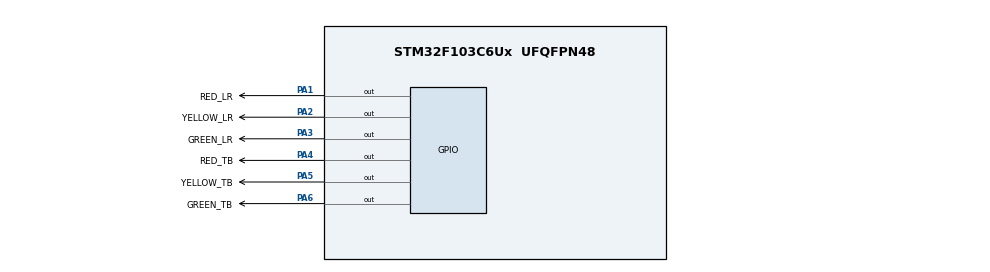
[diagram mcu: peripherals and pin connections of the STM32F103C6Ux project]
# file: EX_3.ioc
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Mcu.Family=STM32F1
Mcu.Name=STM32F103C6Ux
Mcu.Package=UFQFPN48
NVIC.PriorityGroup=NVIC_PRIORITYGROUP_4
PA1.GPIO_Label=RED_LR
PA1.Signal=GPIO_Output
PA2.GPIO_Label=YELLOW_LR
PA2.Signal=GPIO_Output
PA3.GPIO_Label=GREEN_LR
PA3.Signal=GPIO_Output
PA4.GPIO_Label=RED_TB
PA4.Signal=GPIO_Output
PA5.GPIO_Label=YELLOW_TB
PA5.Signal=GPIO_Output
PA6.GPIO_Label=GREEN_TB
PA6.Signal=GPIO_Output
ProjectManager.HeapSize=0x200
ProjectManager.StackSize=0x400
ProjectManager.TargetToolchain=STM32CubeIDE
RCC.APB1Freq_Value=8000000
RCC.APB2Freq_Value=8000000
VP_SYS_VS_ND.Mode=No_Debug
board=custom

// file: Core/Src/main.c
/* USER CODE BEGIN Header */
/**
  ******************************************************************************
  * @file           : main.c
  * @brief          : Main program body
  ******************************************************************************
  * @attention
  *
  * <h2><center>&copy; Copyright (c) 2022 STMicroelectronics.
  * All rights reserved.</center></h2>
  *
  * This software component is licensed by ST under BSD 3-Clause license,
  * the "License"; You may not use this file except in compliance with the
  * License. You may obtain a copy of the License at:
  *                        opensource.org/licenses/BSD-3-Clause
  *
  ******************************************************************************
  */
/* USER CODE END Header */
#include "main.h"

void SystemClock_Config(void);
static void MX_GPIO_Init(void);

int main(void)
{

  /* MCU Configuration--------------------------------------------------------*/

  /* Reset of all peripherals, Initializes the Flash interface and the Systick. */
  HAL_Init();

  /* Configure the system clock */
  SystemClock_Config();

  /* Initialize all configured peripherals */
  MX_GPIO_Init();

  /* Infinite loop */
  /* USER CODE BEGIN WHILE */
  void display7SEG(int num){
	  char led7seg[10] = {0xC0 , 0xF9 , 0xA4 , 0xB0 , 0x99 , 0x92 , 0x82 ,
			  0xF8 , 0x80 , 0x90 };
	  for (int i= 0; i<7; i++){
		  HAL_GPIO_WritePin (GPIOB , GPIO_PIN_0 << i, ( led7seg[num]
		  >> i) & 1);
	  }
  }
  while (1)
  {
	  	  //-----	XANH_LR / Đ_TB
	  	  	  HAL_GPIO_WritePin(RED_LR_GPIO_Port, RED_LR_Pin, SET);
	  	  	  HAL_GPIO_WritePin(YELLOW_LR_GPIO_Port, YELLOW_LR_Pin, SET);
	  	  	  HAL_GPIO_WritePin(GREEN_LR_GPIO_Port, GREEN_LR_Pin, RESET);

	  	  	  HAL_GPIO_WritePin(GREEN_TB_GPIO_Port, GREEN_TB_Pin, SET);
	  	  	  HAL_GPIO_WritePin(YELLOW_TB_GPIO_Port, YELLOW_TB_Pin, SET);
	  	  	  HAL_GPIO_WritePin(RED_TB_GPIO_Port, RED_TB_Pin, RESET);
	  	  	  HAL_Delay(3000);

	  	  	  //------ VANG_LR / Đ_TB
	  	  	  HAL_GPIO_WritePin(RED_LR_GPIO_Port, RED_LR_Pin, SET);
	  	  	  HAL_GPIO_WritePin(GREEN_LR_GPIO_Port, GREEN_LR_Pin, SET);
	  	  	  HAL_GPIO_WritePin(YELLOW_LR_GPIO_Port, YELLOW_LR_Pin, RESET);

	  	  	  HAL_GPIO_WritePin(GREEN_TB_GPIO_Port, GREEN_TB_Pin, SET);
	  	  	  HAL_GPIO_WritePin(YELLOW_TB_GPIO_Port, YELLOW_TB_Pin, SET);
	  	  	  HAL_GPIO_WritePin(RED_TB_GPIO_Port, RED_TB_Pin, RESET);
	  	  	  HAL_Delay(2000);

	  	  	  //--------ĐO_LR / XANH_TB
	  	  	HAL_GPIO_WritePin(GREEN_LR_GPIO_Port, GREEN_LR_Pin, SET);
	  	  	HAL_GPIO_WritePin(YELLOW_LR_GPIO_Port, YELLOW_LR_Pin, SET);
	  	  	HAL_GPIO_WritePin(RED_LR_GPIO_Port, RED_LR_Pin, RESET);

	  	    HAL_GPIO_WritePin(RED_TB_GPIO_Port, RED_TB_Pin, SET);
	  	  	HAL_GPIO_WritePin(YELLOW_TB_GPIO_Port, YELLOW_TB_Pin, SET);
	  	  	HAL_GPIO_WritePin(GREEN_TB_GPIO_Port, GREEN_TB_Pin, RESET);
	  	  	HAL_Delay(3000);

	  	  	//------Đ_LR / VANG_TB
	  	    HAL_GPIO_WritePin(GREEN_LR_GPIO_Port, GREEN_LR_Pin, SET);
	  	  	HAL_GPIO_WritePin(YELLOW_LR_GPIO_Port, YELLOW_LR_Pin, SET);
	  	  	HAL_GPIO_WritePin(RED_LR_GPIO_Port, RED_LR_Pin, RESET);

	  	    HAL_GPIO_WritePin(RED_TB_GPIO_Port, RED_TB_Pin, SET);
	  	  	HAL_GPIO_WritePin(GREEN_TB_GPIO_Port, GREEN_TB_Pin, SET);
	  	  	HAL_GPIO_WritePin(YELLOW_TB_GPIO_Port, YELLOW_TB_Pin, RESET);
	  	  	HAL_Delay(2000);
    /* USER CODE END WHILE */

  }
}

void SystemClock_Config(void)
{
  RCC_OscInitTypeDef RCC_OscInitStruct = {0};
  RCC_ClkInitTypeDef RCC_ClkInitStruct = {0};

  /** Initializes the RCC Oscillators according to the specified parameters
  * in the RCC_OscInitTypeDef structure.
  */
  RCC_OscInitStruct.OscillatorType = RCC_OSCILLATORTYPE_HSI;
  RCC_OscInitStruct.HSIState = RCC_HSI_ON;
  RCC_OscInitStruct.HSICalibrationValue = RCC_HSICALIBRATION_DEFAULT;
  RCC_OscInitStruct.PLL.PLLState = RCC_PLL_NONE;
  if (HAL_RCC_OscConfig(&RCC_OscInitStruct) != HAL_OK)
  {
    Error_Handler();
  }
  /** Initializes the CPU, AHB and APB buses clocks
  */
  RCC_ClkInitStruct.ClockType = RCC_CLOCKTYPE_HCLK|RCC_CLOCKTYPE_SYSCLK
                              |RCC_CLOCKTYPE_PCLK1|RCC_CLOCKTYPE_PCLK2;
  RCC_ClkInitStruct.SYSCLKSource = RCC_SYSCLKSOURCE_HSI;
  RCC_ClkInitStruct.AHBCLKDivider = RCC_SYSCLK_DIV1;
  RCC_ClkInitStruct.APB1CLKDivider = RCC_HCLK_DIV1;
  RCC_ClkInitStruct.APB2CLKDivider = RCC_HCLK_DIV1;

  if (HAL_RCC_ClockConfig(&RCC_ClkInitStruct, FLASH_LATENCY_0) != HAL_OK)
  {
    Error_Handler();
  }
}

static void MX_GPIO_Init(void)
{
  GPIO_InitTypeDef GPIO_InitStruct = {0};

  /* GPIO Ports Clock Enable */
  __HAL_RCC_GPIOA_CLK_ENABLE();

  /*Configure GPIO pin Output Level */
  HAL_GPIO_WritePin(GPIOA, RED_LR_Pin|YELLOW_LR_Pin|GREEN_LR_Pin|RED_TB_Pin
                          |YELLOW_TB_Pin|GREEN_TB_Pin, GPIO_PIN_RESET);

  /*Configure GPIO pins : RED_LR_Pin YELLOW_LR_Pin GREEN_LR_Pin RED_TB_Pin
                           YELLOW_TB_Pin GREEN_TB_Pin */
  GPIO_InitStruct.Pin = RED_LR_Pin|YELLOW_LR_Pin|GREEN_LR_Pin|RED_TB_Pin
                          |YELLOW_TB_Pin|GREEN_TB_Pin;
  GPIO_InitStruct.Mode = GPIO_MODE_OUTPUT_PP;
  GPIO_InitStruct.Pull = GPIO_NOPULL;
  GPIO_InitStruct.Speed = GPIO_SPEED_FREQ_LOW;
  HAL_GPIO_Init(GPIOA, &GPIO_InitStruct);

}

void Error_Handler(void)
{
  __disable_irq();
  while (1)
  {
  }
}

/************************ (C) COPYRIGHT STMicroelectronics *****END OF FILE****/
